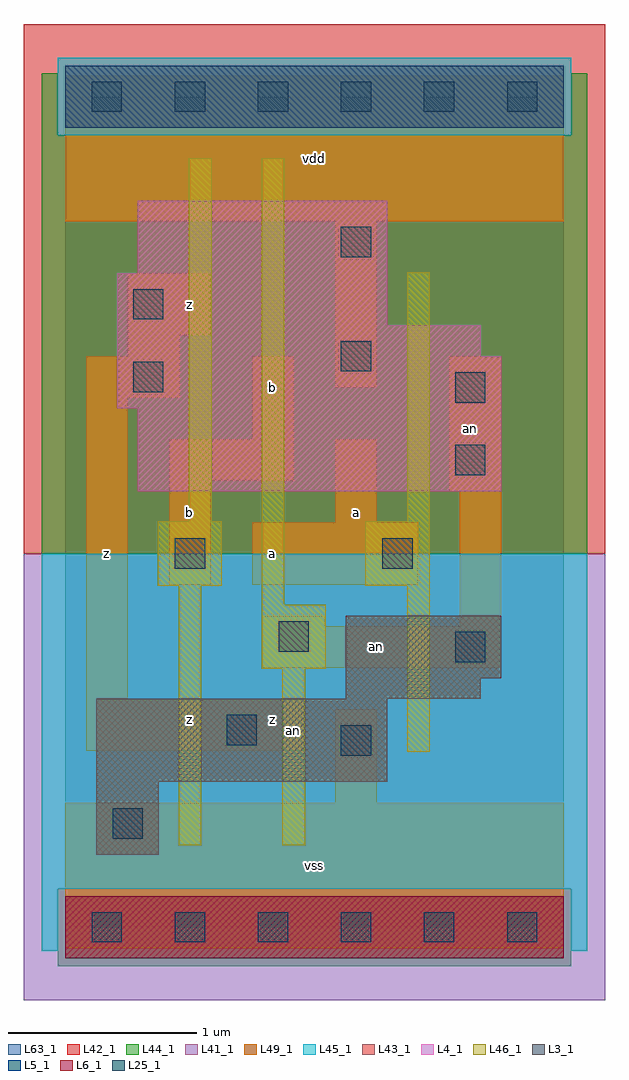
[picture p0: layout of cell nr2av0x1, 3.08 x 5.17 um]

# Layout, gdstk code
import gdstk
lib = gdstk.Library(unit=1e-6, precision=1e-09)
def R(c, l, rs):  # rectangles x0, y0, x1, y1
    for r in rs: c.add(gdstk.rectangle(r[:2], r[2:], *l))
def A(c, l, x, y, w, h, nx, ny, dx, dy):  # array of equal rectangles
    R(c, l, [(x+i*dx, y+j*dy, x+i*dx+w, y+j*dy+h) for i in range(nx) for j in range(ny)])
L3_1 = (3, 1)
L4_1 = (4, 1)
L5_1 = (5, 1)
L6_1 = (6, 1)
L25_1 = (25, 1)
L41_1 = (41, 1)
L42_1 = (42, 1)
L43_1 = (43, 1)
L44_1 = (44, 1)
L45_1 = (45, 1)
L46_1 = (46, 1)
L49_1 = (49, 1)
L63_1 = (63, 1)

nr2av0x1 = lib.new_cell('nr2av0x1')
R(nr2av0x1, L3_1, [(0.165,0.385,0.495,0.77), (0.165,0.77,1.705,1.21), (1.485,1.21,2.2,1.32), (1.485,1.32,2.31,1.65)])
R(nr2av0x1, L4_1, [(0.385,2.31,2.31,2.75), (0.275,2.75,2.31,3.025), (0.275,3.025,2.2,3.19), (0.275,3.19,1.705,3.465), (0.385,3.465,1.705,3.85)])
R(nr2av0x1, L5_1, [(0,4.235,2.64,4.565)])
R(nr2av0x1, L6_1, [(0,-0.165,2.64,0.165)])
A(nr2av0x1, L25_1, 0.14, -0.08, 0.16, 0.16, 6, 2, 0.44, 4.4)
R(nr2av0x1, L25_1, [(0.25,0.47,0.41,0.63), (1.46,0.91,1.62,1.07), (0.855,0.965,1.015,1.125), (2.065,1.405,2.225,1.565), (1.13,1.46,1.29,1.62), (0.58,1.9,0.74,2.06), (1.68,1.9,1.84,2.06), (2.065,2.395,2.225,2.555), (2.065,2.78,2.225,2.94), (0.36,2.835,0.52,2.995), (1.46,2.945,1.62,3.105), (0.36,3.22,0.52,3.38), (1.46,3.55,1.62,3.71)])
R(nr2av0x1, L41_1, [(-0.22,-0.385,2.86,1.98)])
R(nr2av0x1, L42_1, [(-0.22,1.98,2.86,4.785)])
R(nr2av0x1, L43_1, [(0,-0.165,2.64,0.165), (0.165,0.385,0.495,0.77), (0.165,0.77,1.705,1.21), (1.485,1.21,2.2,1.32), (1.485,1.32,2.31,1.65), (0.385,2.31,2.31,2.75), (0.275,2.75,2.31,3.025), (0.275,3.025,2.2,3.19), (0.275,3.19,1.705,3.465), (0.385,3.465,1.705,3.85), (0,4.235,2.64,4.565)])
R(nr2av0x1, L44_1, [(-0.04,-0.205,2.68,0.205), (-0.125,1.98,2.765,4.195), (-0.125,4.195,-0.04,4.525), (2.68,4.195,2.765,4.525)])
R(nr2av0x1, L45_1, [(-0.125,-0.125,-0.04,0.205), (2.68,-0.125,2.765,0.205), (-0.125,0.205,2.765,1.98), (-0.04,4.195,2.68,4.605)])
R(nr2av0x1, L46_1, [(0.6,0.435,0.72,1.81), (1.15,0.435,1.27,1.37), (1.81,0.93,1.93,1.81), (1.04,1.37,1.38,1.71), (1.04,1.71,1.16,4.075), (0.49,1.81,0.83,2.15), (1.59,1.81,1.93,2.15), (0.655,2.15,0.775,4.075), (1.81,2.15,1.93,3.47)])
R(nr2av0x1, L49_1, [(0,-0.11,2.64,0.66), (1.43,0.66,1.65,1.155), (0.11,0.935,1.265,1.21), (0.11,1.21,0.33,2.805), (1.045,1.375,2.31,1.595), (1.045,1.595,1.375,1.65), (2.09,1.595,2.31,2.31), (0.55,1.815,0.77,2.365), (0.99,1.815,1.87,2.145), (1.43,2.145,1.65,2.585), (2.035,2.31,2.31,3.025), (0.55,2.365,1.21,2.585), (0.99,2.585,1.21,3.025), (0.11,2.805,0.605,3.025), (1.43,2.86,1.65,3.74), (0.33,3.025,0.605,3.135), (0.33,3.135,0.77,3.465), (0,3.74,2.64,4.51)])
R(nr2av0x1, L63_1, [(0,0,2.64,4.4)])
nr2av0x1.add(gdstk.Label('an', (1.21,1.045), layer=46, texttype=1))
nr2av0x1.add(gdstk.Label('z', (0.22,1.98), layer=49, texttype=1))
nr2av0x1.add(gdstk.Label('z', (1.1,1.1), layer=49, texttype=1))
nr2av0x1.add(gdstk.Label('z', (0.66,1.1), layer=49, texttype=1))
nr2av0x1.add(gdstk.Label('a', (1.1,1.98), layer=49, texttype=1))
nr2av0x1.add(gdstk.Label('b', (0.66,2.2), layer=49, texttype=1))
nr2av0x1.add(gdstk.Label('b', (1.1,2.86), layer=49, texttype=1))
nr2av0x1.add(gdstk.Label('z', (0.66,3.3), layer=49, texttype=1))
nr2av0x1.add(gdstk.Label('vss', (1.32,0.33), layer=49, texttype=1))
nr2av0x1.add(gdstk.Label('a', (1.54,2.2), layer=49, texttype=1))
nr2av0x1.add(gdstk.Label('vdd', (1.32,4.07), layer=49, texttype=1))
nr2av0x1.add(gdstk.Label('an', (1.65,1.485), layer=49, texttype=1))
nr2av0x1.add(gdstk.Label('an', (2.145,2.64), layer=49, texttype=1))

lib.write_gds('nr2av0x1.gds')
